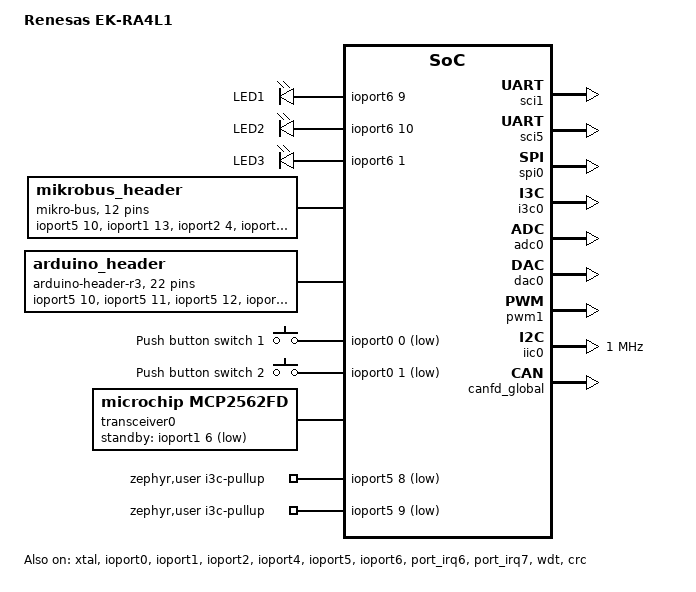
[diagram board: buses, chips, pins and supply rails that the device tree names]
/*
 * Copyright (c) 2025 Renesas Electronics Corporation
 * SPDX-License-Identifier: Apache-2.0
 */

/dts-v1/;

#include <renesas/ra/ra4/r7fa4l1bd4cfp.dtsi>
#include <zephyr/dt-bindings/gpio/gpio.h>
#include <zephyr/dt-bindings/input/input-event-codes.h>
#include <zephyr/dt-bindings/adc/adc.h>
#include <zephyr/dt-bindings/gpio/arduino-header-r3.h>

#include "ek_ra4l1-pinctrl.dtsi"

/ {
	model = "Renesas EK-RA4L1";
	compatible = "renesas,ra4l1", "renesas,ra";

	chosen {
		zephyr,sram = &sram0;
		zephyr,flash-controller = &flash1;
		zephyr,flash = &flash0;
		zephyr,console = &uart5;
		zephyr,shell-uart = &uart5;
		zephyr,canbus = &canfd0;
		zephyr,crc = &crc;
	};

	leds {
		compatible = "gpio-leds";

		led1: led1 {
			gpios = <&ioport6 9 GPIO_ACTIVE_HIGH>;
			label = "LED1";
		};

		led2: led2 {
			gpios = <&ioport6 10 GPIO_ACTIVE_HIGH>;
			label = "LED2";
		};

		led3: led3 {
			gpios = <&ioport6 1 GPIO_ACTIVE_HIGH>;
			label = "LED3";
		};
	};

	mikrobus_header: mikrobus-connector {
		compatible = "mikro-bus";
		#gpio-cells = <2>;
		gpio-map-mask = <0xffffffff 0xffffffc0>;
		gpio-map-pass-thru = <0 0x3f>;
		gpio-map = <0 0 &ioport5 10 0>,	/* AN  */
			   <1 0 &ioport1 13 0>,	/* RST */
			   <2 0 &ioport2 4 0>,	/* CS   */
			   <3 0 &ioport2 9 0>,	/* SCK  */
			   <4 0 &ioport2 10 0>,	/* MISO */
			   <5 0 &ioport2 11 0>,	/* MOSI */
			   /* +3.3V */
			   /* GND */
			   <6 0 &ioport4 5 0>,	/* PWM  */
			   <7 0 &ioport4 3 0>,	/* INT  */
			   <8 0 &ioport6 8 0>,	/* RX   */
			   <9 0 &ioport1 15 0>,	/* TX   */
			   <10 0 &ioport4 0 0>,	/* SCL  */
			   <11 0 &ioport4 1 0>;	/* SDA  */
		/* +5V */
		/* GND */
	};

	arduino_header: arduino-connector {
		compatible = "arduino-header-r3";
		#gpio-cells = <2>;
		gpio-map-mask = <0xffffffff 0xffffffc0>;
		gpio-map-pass-thru = <0 0x3f>;
		gpio-map = <ARDUINO_HEADER_R3_A0 0 &ioport5 10 0>,
			   <ARDUINO_HEADER_R3_A1 0 &ioport5 11 0>,
			   <ARDUINO_HEADER_R3_A2 0 &ioport5 12 0>,
			   <ARDUINO_HEADER_R3_A3 0 &ioport5 13 0>,
			   <ARDUINO_HEADER_R3_A4 0 &ioport0 3 0>,
			   <ARDUINO_HEADER_R3_A5 0 &ioport0 4 0>,
			   <ARDUINO_HEADER_R3_D0 0 &ioport6 8 0>,
			   <ARDUINO_HEADER_R3_D1 0 &ioport1 15 0>,
			   <ARDUINO_HEADER_R3_D2 0 &ioport4 15 0>,
			   <ARDUINO_HEADER_R3_D3 0 &ioport4 14 0>,
			   <ARDUINO_HEADER_R3_D4 0 &ioport4 4 0>,
			   <ARDUINO_HEADER_R3_D5 0 &ioport4 5 0>,
			   <ARDUINO_HEADER_R3_D6 0 &ioport4 6 0>,
			   <ARDUINO_HEADER_R3_D7 0 &ioport1 7 0>,
			   <ARDUINO_HEADER_R3_D8 0 &ioport6 2 0>,
			   <ARDUINO_HEADER_R3_D9 0 &ioport6 0 0>,
			   <ARDUINO_HEADER_R3_D10 0 &ioport2 4 0>,
			   <ARDUINO_HEADER_R3_D11 0 &ioport2 11 0>,
			   <ARDUINO_HEADER_R3_D12 0 &ioport2 10 0>,
			   <ARDUINO_HEADER_R3_D13 0 &ioport2 9 0>,
			   <ARDUINO_HEADER_R3_D14 0 &ioport4 1 0>,
			   <ARDUINO_HEADER_R3_D15 0 &ioport4 0 0>;
	};

	buttons {
		compatible = "gpio-keys";

		button0: s1 {
			gpios = <&ioport0 0 (GPIO_PULL_UP | GPIO_ACTIVE_LOW)>;
			label = "Push button switch 1";
			zephyr,code = <INPUT_KEY_0>;
		};

		button1: s2 {
			gpios = <&ioport0 1 (GPIO_PULL_UP | GPIO_ACTIVE_LOW)>;
			label = "Push button switch 2";
			zephyr,code = <INPUT_KEY_1>;
		};
	};

	aliases {
		led0 = &led1;
		sw0 = &button0;
		sw1 = &button1;
		watchdog0 = &wdt;
	};

	transceiver0: can-phy0 {
		compatible = "microchip,mcp2562fd", "can-transceiver-gpio";
		standby-gpios = <&ioport1 6 GPIO_ACTIVE_LOW>;
		max-bitrate = <5000000>;
		#phy-cells = <0>;
	};

	zephyr,user {
		i3c-pullup-gpios = <&ioport5 8 GPIO_ACTIVE_LOW>,
				   <&ioport5 9 GPIO_ACTIVE_LOW>;
	};
};

&xtal {
	clock-frequency = <DT_FREQ_M(8)>;
	mosel = <0>;
	#clock-cells = <0>;
	status = "okay";
};

&subclk {
	status = "okay";
};

&pll {
	clocks = <&xtal>;
	div = <1>;
	mul = <10 0>;
	status = "okay";
};

&canfdclk {
	clocks = <&pll>;
	div = <2>;
	status = "okay";
};

&i3cclk {
	clocks = <&pll>;
	div = <1>;
	status = "okay";
};

&sci1 {
	pinctrl-0 = <&sci1_default>;
	pinctrl-names = "default";
	interrupts = <32 1>, <33 1>, <34 1>, <35 1>;
	interrupt-names = "rxi", "txi", "tei", "eri";
	status = "okay";

	uart1: uart {
		current-speed = <115200>;
		status = "okay";
	};
};

&sci5 {
	pinctrl-0 = <&sci5_default>;
	pinctrl-names = "default";
	status = "okay";

	uart5: uart {
		current-speed = <115200>;
		status = "okay";
	};
};

&ioport0 {
	status = "okay";
};

&ioport1 {
	status = "okay";
};

&ioport2 {
	status = "okay";
};

&ioport4 {
	status = "okay";
};

&ioport5 {
	status = "okay";
};

&ioport6 {
	status = "okay";
};

&spi0 {
	pinctrl-0 = <&spi0_default>;
	pinctrl-names = "default";
	status = "okay";
};

&i3c0 {
	i2c-scl-hz = <DT_FREQ_K(400)>;
	i3c-scl-hz = <DT_FREQ_M(4)>;
	pinctrl-0 = <&i3c0_default>;
	pinctrl-names = "default";
	interrupts = <32 1>, <33 1>, <34 1>, <35 1>, <36 1>, <37 1>;
	interrupt-names = "resp", "rx", "tx", "rcv", "ibi", "eei";
	status = "okay";
};

&adc0 {
	status = "okay";
	pinctrl-0 = <&adc0_default>;
	pinctrl-names = "default";
};

&dac0 {
	pinctrl-0 = <&dac0_default>;
	pinctrl-names = "default";
	status = "okay";
};

&port_irq6 {
	interrupts = <14 12>;
	status = "okay";
};

&port_irq7 {
	interrupts = <15 12>;
	status = "okay";
};

&pwm1 {
	pinctrl-0 = <&pwm1_default>;
	pinctrl-names = "default";
	interrupts = <8 1>, <9 1>;
	interrupt-names = "gtioca", "overflow";
	status = "okay";
};

&iic0 {
	pinctrl-0 = <&iic0_default>;
	pinctrl-names = "default";
	#address-cells = <1>;
	#size-cells = <0>;
	clock-frequency = <DT_FREQ_M(1)>;
	interrupts = <10 1>, <11 1>, <12 1>, <13 1>;
	interrupt-names = "rxi", "txi", "tei", "eri";
	status = "okay";
};

&canfd_global {
	status = "okay";

	canfd0 {
		pinctrl-0 = <&canfd0_default>;
		pinctrl-names = "default";
		phys = <&transceiver0>;
		rx-max-filters = <16>;
		status = "okay";
	};
};

&wdt {
	status = "okay";
};

&flash1 {
	partitions {
		compatible = "fixed-partitions";
		#address-cells = <1>;
		#size-cells = <1>;

		storage_partition: partition@0 {
			label = "storage";
			reg = <0x0 DT_SIZE_K(8)>;
		};
	};
};

&crc {
	status = "okay";
};

mikrobus_serial: &uart1 {};

arduino_serial: &uart1 {};
